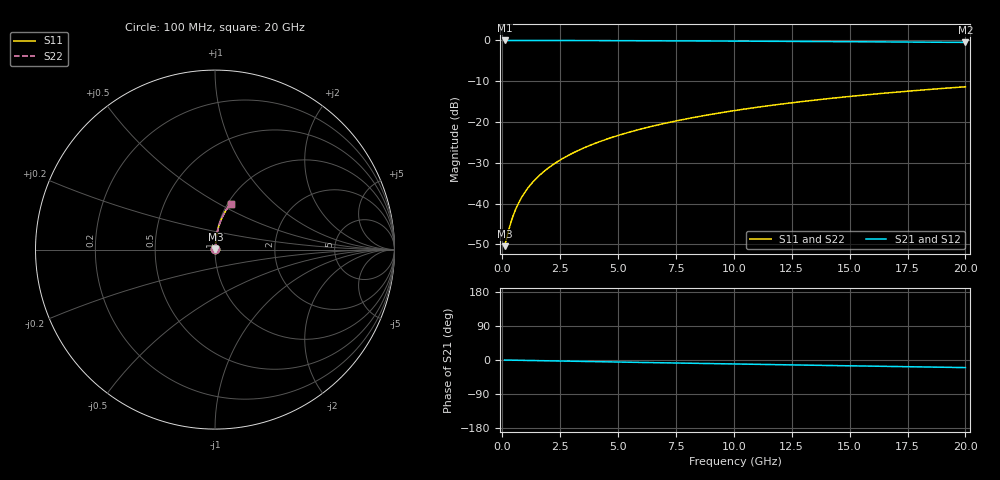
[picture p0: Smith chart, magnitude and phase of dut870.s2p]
! Touchstone file exported from HFSS 2024.1.0
!  File:  C:/UserFiles/LocalFiles/RDL_TSV_Batchsim/temp_RDL_bottom_870_1779864994.aedt
!  Generated:  02:59:16 PM May 27, 2026
!  Design:  RDL_bottom
!  Project:  temp_RDL_bottom_870_1779864994
!  Setup:  Setup1
!  Solution:  Sweep
! Variables:
!  dtsv = 10.80580581um
!  hbump = 3um
!  htsv = 59.63um
!  ldown = 197.29um
!  lrdl = 100um
!  p = 40
!  p1 = 51.62um
!  rhole = 1um
!  t = 450um
!  tdown = 2.37um
!  trdl = 3.915915916um
!  wdown = 12.23um
!  wrdl = 20um
# GHz S MA R 50.000000
! Terminal data exported
! Port[1] = RDL1_T1
! Port[2] = RDL1_T2
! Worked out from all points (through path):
!   200 points, 100 MHz to 20 GHz, reference 50 ohm
!   highest |S21| = -0.02 dB at 100 MHz (marker M1); lowest = -0.5 dB at 20 GHz (marker M2)
!   group delay of S21, straight-line fit = 2.78 ps
!   lowest |S11| = -50.5 dB at 100 MHz (marker M3), VSWR 1.01, Z = 50.3 + j0.141 ohm
!   |S11| at or under -10 dB: start of sweep to end of sweep
!   |S22| runs from -50.5 to -11.4 dB; largest |S21 - S12| = 2.7e-15
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0.1  0.003002 27.9  0.9973 -0.1  0.9973 -0.1  0.003002 27.9
! Gamma 0 0 0 0
! Port Impedance 50 0 50 0
0.3  0.004994 57.1  0.9973 -0.3  0.9973 -0.3  0.004994 57.1
0.4  0.006221 63.7  0.9972 -0.4  0.9972 -0.4  0.006221 63.7
0.5  0.007497 68.0  0.9972 -0.6  0.9972 -0.6  0.007497 68.0
0.6  0.008797 71.1  0.9971 -0.7  0.9971 -0.7  0.008797 71.1
0.7  0.01011 73.3  0.9971 -0.8  0.9971 -0.8  0.01011 73.3
0.9  0.01275 76.3  0.9969 -1.0  0.9969 -1.0  0.01275 76.3
1.2  0.01673 79.0  0.9967 -1.3  0.9967 -1.3  0.01673 79.0
1.4  0.0194 80.2  0.9966 -1.5  0.9966 -1.5  0.0194 80.2
1.7  0.02341 81.4  0.9963 -1.9  0.9963 -1.9  0.02341 81.4
2.2  0.03013 82.6  0.9959 -2.4  0.9959 -2.4  0.03013 82.6
2.8  0.03823 83.4  0.9952 -3.0  0.9952 -3.0  0.03823 83.4
3.5  0.04774 83.8  0.9943 -3.8  0.9943 -3.8  0.04774 83.8
4.2  0.0573 83.9  0.9932 -4.5  0.9932 -4.5  0.0573 83.9
5  0.06828 83.7  0.9918 -5.4  0.9918 -5.4  0.06828 83.7
5.9  0.08069 83.3  0.9899 -6.3  0.9899 -6.3  0.08069 83.3
6.8  0.09314 82.9  0.9879 -7.2  0.9879 -7.2  0.09314 82.9
8.3  0.1139 81.8  0.9842 -8.8  0.9842 -8.8  0.1139 81.8
10.1  0.1389 80.4  0.9791 -10.6  0.9791 -10.6  0.1389 80.4
13.4  0.184 77.4  0.9687 -13.8  0.9687 -13.8  0.184 77.4
16.7  0.2278 74.3  0.9568 -17.0  0.9568 -17.0  0.2278 74.3
20  0.2699 71.3  0.9438 -20.0  0.9438 -20.0  0.2699 71.3
